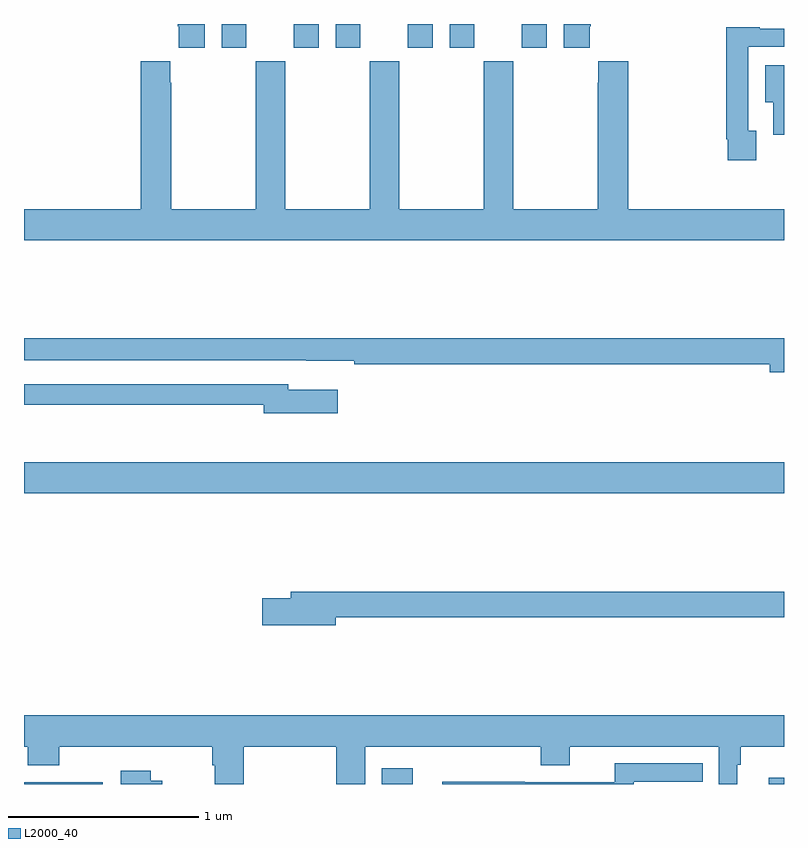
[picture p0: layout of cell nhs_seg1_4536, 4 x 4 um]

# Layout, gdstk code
import gdstk
lib = gdstk.Library(unit=1e-6, precision=1e-09)
def R(c, l, rs):  # rectangles x0, y0, x1, y1
    for r in rs: c.add(gdstk.rectangle(r[:2], r[2:], *l))
def P(c, l, *ps):  # polygons
    for p in ps: c.add(gdstk.Polygon(p, *l))
L2000_40 = (2000, 40)

nhs_seg1_4536 = lib.new_cell('nhs_seg1_4536')
R(nhs_seg1_4536, L2000_40, [(357,554.199,357.414,554.208), (358.884,554.199,359.045,554.281), (360.92,554.199,361,554.233), (357,555.728,361,555.892), (358.04,558.075,358.171,558.199), (358.421,558.075,358.552,558.199), (358.64,558.075,358.771,558.199), (359.021,558.075,359.152,558.199), (359.24,558.075,359.371,558.199), (359.621,558.075,359.752,558.199)])
P(nhs_seg1_4536, L2000_40, [(359.977,558.187),(359.984,558.187),(359.984,558.199),(359.84,558.199),(359.84,558.075),(359.977,558.075)],
  [(357.952,558.199),(357.809,558.199),(357.809,558.187),(357.815,558.187),(357.815,558.075),(357.952,558.075)],
  [(360.853,557.637),(360.813,557.637),(360.813,558.078),(361,558.078),(361,558.174),(360.873,558.174),(360.873,558.181),(360.697,558.181),(360.697,557.593),(360.705,557.593),(360.705,557.481),(360.853,557.481)],
  [(361,557.224),(360.179,557.224),(360.179,558.004),(360.023,558.004),(360.023,557.891),(360.019,557.891),(360.019,557.224),(359.574,557.224),(359.574,558.004),(359.419,558.004),(359.419,557.224),(358.974,557.224),(358.974,558.004),(358.819,558.004),(358.819,557.224),(358.374,557.224),(358.374,558.004),(358.219,558.004),(358.219,557.224),(357.774,557.224),(357.774,557.891),(357.769,557.891),(357.769,558.004),(357.614,558.004),(357.614,557.224),(357,557.224),(357,557.06),(361,557.06)],
  [(361,557.983),(360.902,557.983),(360.902,557.786),(360.944,557.786),(360.944,557.617),(361,557.617)],
  [(361,556.544),(357,556.544),(357,556.428),(358.486,556.428),(358.486,556.427),(358.738,556.427),(358.738,556.408),(360.926,556.408),(360.926,556.366),(361,556.366)],
  [(358.651,556.273),(358.39,556.273),(358.39,556.302),(357,556.302),(357,556.194),(358.262,556.194),(358.262,556.151),(358.651,556.151)],
  [(358.642,555.076),(361,555.076),(361,555.212),(358.403,555.212),(358.403,555.176),(358.254,555.176),(358.254,555.034),(358.642,555.034)],
  [(358.157,554.396),(358.643,554.396),(358.643,554.199),(358.795,554.199),(358.795,554.396),(359.72,554.396),(359.72,554.297),(359.872,554.297),(359.872,554.396),(360.657,554.396),(360.657,554.199),(360.754,554.199),(360.754,554.3),(360.773,554.3),(360.773,554.396),(361,554.396),(361,554.56),(357,554.56),(357,554.396),(357.02,554.396),(357.02,554.297),(357.185,554.297),(357.185,554.396),(357.992,554.396),(357.992,554.298),(358.004,554.298),(358.004,554.199),(358.157,554.199)],
  [(360.208,554.211),(360.572,554.211),(360.572,554.307),(360.109,554.307),(360.109,554.208),(359.636,554.208),(359.636,554.21),(359.202,554.21),(359.202,554.199),(360.208,554.199)],
  [(357.728,554.217),(357.666,554.217),(357.666,554.269),(357.51,554.269),(357.51,554.199),(357.728,554.199)])

lib.write_gds('nhs_seg1_4536.gds')
